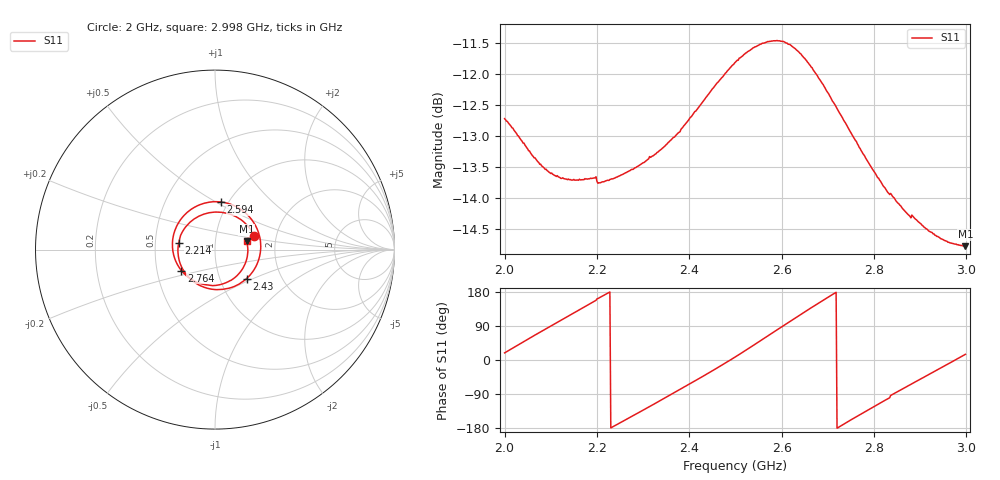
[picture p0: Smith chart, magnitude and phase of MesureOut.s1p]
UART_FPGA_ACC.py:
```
# this file used accumulate method
import serial
import time
import threading
import struct

import numpy as np
import pylab as pl
import math
import  skrf
from skrf import Network, Frequency
from scipy import signal
from VNACalibrate import Cal_Display

#  22.5527dbm.  3V 50R 对应的功率
DBM_3V = 13.523
SerialPort = serial.Serial('com27')

def PrintMstime():
    t = time.time()
    return int(round(t * 1000))  # 毫秒级时间戳
def PrintSkrfFile(Mage, Vphs, FreqStart, FreqRate):
    MesureList= ['# MHz S MA R 50.0\n']
    File = open('MesureOut.s1p','w')
    File.write(MesureList[0])
    for size in range(len(Mage)):
        MesureList.append( '%.4f   %.8f   %.4f \n'%(((FreqStart+FreqRate*size),Mage[size], Vphs[size])))
        File.write(MesureList[size+1])
    File.closed

if __name__ == '__main__':

    fs = 24  # 采样频率
    N = 2400  # 采样点数
    N_HALF = 1200 #
    DISPLAY_MODE = 0 # 1 wave, 0 spectrum
    df = fs / (N - 1)  # 分辨率

    N_2MHZ = int(round( 2/ df, 0))# Lo= 2Mhz 点的位置
    N_4MHZ = int(round( 4/ df, 0))


    f = [round(df * n, 5) for n in range(0, N)]  # 构建频率数组
    FFT_Yticks = np.arange(-150, 20, 10)
    WAVE_Yticks = np.arange(-1, 1.2, 0.2)


    FrequencyStart = 1000
    FrequencyEnd = 4000
    FreqSwepStep = 10
    RangSweep = []
    ForwardOrReflect = True
    AbsYSweepForward = []
    AbsYSweepReflect = []
    SkImage = []

    PahseSweepForward = []
    PahseForward = 0
    PahseSweepReflect = []
    Frequency = FrequencyStart

    SendMsg = struct.pack('<BBBBBB', 0xFE, 0x04, 0x00, 0x00, 0x00, 0x00)  # set sampling clock, first Byte H4
    SerialPort.write(SendMsg)
    SendMsg = struct.pack('<BBBBBB', 0xFE, 0x06,0x01, 0x00, 0x00, 0x00)  # set RF output level bit[5:0]
    SerialPort.write(SendMsg)
    SendMsg = struct.pack('<BBBBBB', 0xFE, 0x05,0x01, 0x00, 0x00, 0x00)  # set forward or reflection  level bit[0][0] = 1 reflect 0
    SerialPort.write(SendMsg)
    while True:

        if (ForwardOrReflect is True):
            ##Forward
            SendMsg = struct.pack('<BBBBBB', 0xFE, 0x05, 0x01, 0x00, 0x00, 0x00)  # set forward or reflection  level bit[0][0] = 1 reflect 0
        else:
            ## Reflectoin
            SendMsg = struct.pack('<BBBBBB', 0xFE, 0x05, 0x00, 0x00, 0x00,0x00)  # set forward or reflection  level bit[0][0] = 1 reflect 0
        SerialPort.write(SendMsg)

        if(Frequency >= FrequencyEnd): # 显示RL 的曲线

            if(len(AbsYSweepForward )== int((FrequencyEnd - FrequencyStart)/FreqSwepStep)):
                pl.clf()  # 清楚画布上的内容
                pl.plot(RangSweep,AbsYSweepForward) # fist scan
                pl.plot(RangSweep,AbsYSweepReflect)
                pl.title( 'S11 RL(dB)')
                pl.ylabel('dB')
                pl.xlabel('Frequency (MHz)')
                pl.yticks( np.arange(-60, 20, 10))
                pl.show()
                AbsYSweep = []

                pl.clf()  # 清楚画布上的内容
                #pl.plot(RangSweep,PahseSweepForward)#显示相位信息

                #SubPhase = np.subtract(np.array(PahseSweepReflect),np.array(PahseSweepForward))
                pl.plot(RangSweep,PahseSweepReflect)
                pl.title( 'S11 RP(°)')
                pl.xlabel('Frequency (MHz)')
                pl.ylabel('°')
                pl.yticks( np.arange(-180, 200, 30))
                pl.show()

                #创建skrf 文件
                PrintSkrfFile(SkImage, PahseSweepReflect, FrequencyStart, FreqSwepStep)
                '''
                ring_slot = Network('MesureOut.s1p')
                print(ring_slot)
  
                ring_slot.plot_s_db() # 幅度曲线
                pl.show()
                ring_slot.plot_s_deg()#相位曲线
                pl.show()

                ring_slot.plot_s_smith()#史密斯圆
                pl.show()
                '''

                Cal_Display('MesureOut.s1p')
            else:
                pl.show()
            Frequency = FrequencyStart
            AbsYSweepForward = []
            AbsYSweepReflect = []
            PahseSweepForward = []
            PahseSweepReflect = []
            RangSweep = []
            SkImage = []

        if(ForwardOrReflect is True):
            RangSweep.append(Frequency)
            SendMsg = struct.pack('<BBI', 0xFE, 0x03, Frequency * 1000)  # 设置1000MHz采样
            SerialPort.write(SendMsg)

        time.sleep(0.06)
        SendMsg = struct.pack('<BBBBBB', 0xFE, 0x01, 0x00, 0x00, 0x00, 0x00) #start ADC
        SerialPort.write(SendMsg)
        XCosValue = []
        IF_I_Value = []
        IF_Q_Value = []
        IF_I_ACC = 0
        IF_Q_ACC = 0
        IF_ACC = 0
        #startMs = PrintMstime()

        for i in range(   N  ):
            while SerialPort.inWaiting() == 0:
                pass
            byte = SerialPort.read(4)
            Vpp = ( struct.unpack('<H', byte[0:2])[0] -2048)/2048.0
            #Vpp = math.sin((byte[2]) / 24.0  *2* math.pi  +1.25*math.pi)
            LoSinVpp =  math.sin( byte[2]/24.0 *2* math.pi  ) # 2pi*k  FPGA内计数
            LoCosVpp =  math.sin( byte[3]/24.0 *2* math.pi )
            XCosValue.append(Vpp)  # uints = mV, right lead 4bits
            IF_I_ACC = IF_I_ACC + LoSinVpp*Vpp
            IF_Q_ACC = IF_Q_ACC + LoCosVpp*Vpp
        #endMs = PrintMstime()
        #print(endMs - startMs)

        if( len(XCosValue) ==   N ):

            #I_Q = np.multiply(np.array(LoSinValue),np.array( LoCosValue))
            IF_I_ACC = IF_I_ACC/N
            IF_Q_ACC = IF_Q_ACC/N
            print('%3.6f   %3.6f \n' % (IF_I_ACC, IF_Q_ACC))
            PhasePosition=  math.atan(-IF_Q_ACC/IF_I_ACC)
            Image = np.abs(IF_I_ACC*2/math.cos(PhasePosition))
            absY = 20 * math.log10(Image)  # 求傅里叶变换结果的模.  DBM_3V 3v对应的功率

            if (DISPLAY_MODE == 1):

                pl.clf()  # 清楚画布上的内容
                n = 0
                for n in range(N_HALF):
                    if(XCosValue[n] < 0.05 and XCosValue[n] >= 0 and XCosValue[n+1] > XCosValue[n]):
                        break
                pl.plot(XCosValue[n:n+100])
                pl.title( 'WaveDisplay %d MHZ '%Frequency+" RL(dB)= %3.2f"%absY)
                pl.yticks(WAVE_Yticks)
                pl.xlabel('Time (ns)')
                pl.pause(0.08)
            ''''// end if  '''

            PhasePosition = PhasePosition/math.pi * 180
            targetPhase = 0
            if(IF_I_ACC >= 0 and IF_Q_ACC >= 0):
                targetPhase = PhasePosition
            elif(IF_I_ACC < 0 and IF_Q_ACC > 0):
                targetPhase = 180 + PhasePosition
            elif(IF_I_ACC < 0 and IF_Q_ACC < 0):
                targetPhase = 180 + PhasePosition
            else:
                targetPhase  = 360 + PhasePosition

            print('%d MHZ  %3.5f  %3.5f\n'%(Frequency, PhasePosition,targetPhase) )
            if (ForwardOrReflect is True):
                ForwardOrReflect = False
                AbsYSweepForward.append(absY) #幅度
                PahseSweepForward.append(targetPhase)# 相位
                PahseForward = targetPhase
            else:
                ForwardOrReflect = True
                AbsYSweepReflect.append(absY)
                SubPha = PahseForward - targetPhase
                if(SubPha < 0):
                    SubPha = 360 + SubPha
                if(SubPha > 180):
                    SubPha = (SubPha -180)-180
                SkImage.append(Image)   #skrf 幅度
                PahseSweepReflect.append(SubPha)
                Frequency = Frequency + FreqSwepStep
            #print(time.time())
            #print(time.strftime('%Y-%m-%d %H:%M:%S', time.localtime(time.time())))
```
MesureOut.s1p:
# MHz S MA R 50.0
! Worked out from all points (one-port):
!   500 points, 2 GHz to 2.998 GHz, reference 50 ohm
!   lowest |S11| = -14.8 dB at 2.998 GHz (marker M1), VSWR 1.45, Z = 71 + j6.93 ohm
!   |S11| at or under -10 dB: start of sweep to end of sweep
!   S11 on the Smith chart (normalised r, x): 2 GHz: 1.54, +0.24; 2.214 GHz: 0.66, +0.05; 2.43 GHz: 1.34, -0.46; 2.594 GHz: 0.93, +0.53; 2.764 GHz: 0.67, -0.16; 2.998 GHz: 1.42, +0.14
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2000  0.2313 18.8
2104  0.2085 92.3
2214  0.2056 170.0
2272  0.21 -151.1
2334  0.2177 -109.3
2430  0.2388 -42.7
2512  0.2593 17.6
2594  0.2674 82.6
2666  0.2543 139.2
2712  0.2385 174.2
2764  0.2207 -148.1
2860  0.196 -77.5
2932  0.1861 -29.5
2998  0.1824 15.0
